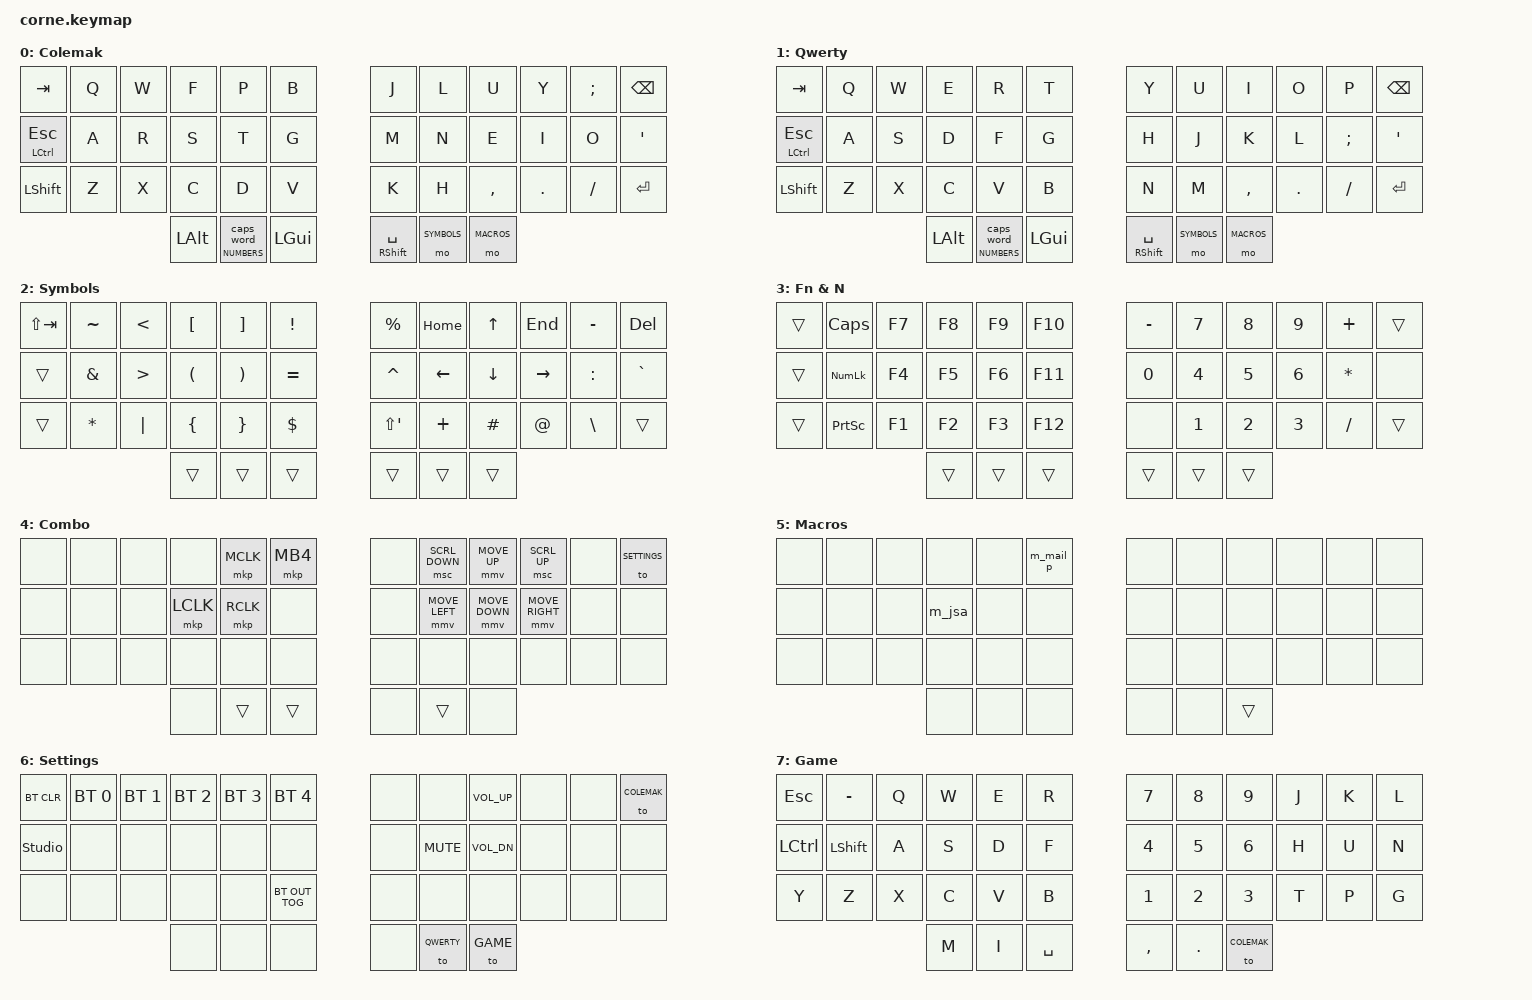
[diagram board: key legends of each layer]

// MOUSE SETTINGS
//Pointer speed
#define ZMK_POINTING_DEFAULT_MOVE_VAL 900
// Scroll speed
#define ZMK_POINTING_DEFAULT_SCRL_VAL 10

// DEPENDENCIES
#include <behaviors.dtsi>
#include <dt-bindings/zmk/keys.h>
#include <dt-bindings/zmk/bt.h>
#include <dt-bindings/zmk/outputs.h>
#include <dt-bindings/zmk/pointing.h>

// LAYERS
#define COLEMAK		0
#define QWERTY		1
#define SYMBOLS		2
#define NUMBERS		3
#define COMBO		4
#define MACROS		5
#define SETTINGS	6
#define GAME		7

// DEVICETREE ROOT
/ {
	conditional_layers {
		compatible = "zmk,conditional-layers";

		combo_layer {
			if-layers = <NUMBERS SYMBOLS>;
			then-layer = <COMBO>;
		};
	};

	behaviors {
		mo_layer_cw: mo_layer_cw {
			compatible = "zmk,behavior-hold-tap";
			label = "LAYER_CAPS_WORD";
			#binding-cells = <2>;
			flavor = "hold-preferred";
			tapping-term-ms = <200>;
			quick-tap-ms = <125>;
			bindings = <&mo>, <&caps_word>;
		};

		c_htl: custom_hold_tap_long_quick_tap {
			compatible = "zmk,behavior-hold-tap";
			label = "CUSTOM_HOLD_TAP";
			#binding-cells = <2>;
			flavor = "balanced";
			tapping-term-ms = <200>;
			quick-tap-ms = <300>;
			bindings = <&kp>, <&kp>;
		};
	};

	macros {
		// @gravestam.site
		m_mail_p: m_mail_personal {
			compatible = "zmk,behavior-macro";
			#binding-cells = <0>;
			bindings = <
				&kp AT
				&kp G &kp R &kp A &kp V &kp E &kp S &kp T &kp A &kp M
				&kp DOT
				&kp S &kp I &kp T &kp E
			>;
		};

		// () => {};
		m_jsa: m_js_arrow_function {
			compatible = "zmk,behavior-macro";
			#binding-cells = <0>;
			bindings = <
				&kp LPAR &kp RPAR
				&kp SPACE &kp EQUAL &kp GT
				&kp SPACE &kp LBRC &kp RBRC &kp SEMI 
				&kp LEFT &kp LEFT &kp LEFT &kp LEFT &kp LEFT &kp LEFT &kp LEFT &kp LEFT
			>;
		};
	};

	keymap {
		compatible = "zmk,keymap";

		COLEMAK {
			display-name = "Colemak";
			bindings = <
				// 1			// 2		// 3		// 4		// 5		// 6		// 1		// 2		// 3		// 4		// 5		// 6
				&kp TAB			&kp Q		&kp W		&kp F		&kp P		&kp B		&kp J		&kp L		&kp U		&kp Y		&kp SEMI	&kp BSPC
				&mt LCTRL ESC	&kp A		&kp R		&kp S		&kp T		&kp G		&kp M		&kp N		&kp E		&kp I		&kp O		&kp SQT
				&kp LSHIFT		&kp Z		&kp X		&kp C		&kp D		&kp V		&kp K		&kp H		&kp COMMA	&kp DOT		&kp FSLH	&kp RET
				// 1			// 2					// 3		// 1				// 2			// 3
				&kp LALT		&mo_layer_cw NUMBERS 0	&kp LGUI	&mt RSHIFT SPACE	&mo SYMBOLS		&mo MACROS
			>;
		};

		QWERTY {
			display-name = "Qwerty";
			bindings = <
				// 1			// 2		// 3		// 4		// 5		// 6		// 1		// 2		// 3		// 4		// 5		// 6
				&kp TAB			&kp Q		&kp W		&kp E		&kp R		&kp T		&kp Y		&kp U		&kp I		&kp O		&kp P		&kp BSPC
				&mt LCTRL ESC	&kp A		&kp S		&kp D		&kp F		&kp G		&kp H		&kp J		&kp K		&kp L		&kp SEMI	&kp SQT
				&kp LSHIFT		&kp Z		&kp X		&kp C		&kp V		&kp B		&kp N		&kp M		&kp COMMA	&kp DOT		&kp FSLH	&kp RET
				// 1			// 2					// 3		// 1				// 2			// 3
				&kp LALT		&mo_layer_cw NUMBERS 0	&kp LGUI	&mt RSHIFT SPACE	&mo SYMBOLS		&mo MACROS
			>;
		};

		SYMBOLS {
			display-name = "Symbols";
			bindings = <
				// 1			// 2		// 3		// 4		// 5		// 6		// 1		// 2		// 3		// 4		// 5		// 6
				&kp LS(TAB)		&kp TILDE	&kp LT		&kp LBKT	&kp RBKT	&kp EXCL	&kp PRCNT	&kp HOME	&kp UP		&kp END		&kp MINUS	&kp DEL
				&trans			&kp AMPS	&kp GT		&kp LPAR	&kp RPAR	&kp EQUAL	&kp CARET	&kp LEFT	&kp DOWN	&kp RIGHT	&kp COLON	&kp GRAVE
				&trans			&kp ASTRK	&kp PIPE	&kp LBRC	&kp RBRC	&kp DLLR	&kp LS(SQT)	&kp PLUS	&kp HASH	&kp AT		&kp BSLH	&trans
				// 1			// 2		// 3		// 1		// 2		// 3
				&trans			&trans		&trans		&trans		&trans		&trans
			>;
		};

		NUMBERS {
			display-name = "Fn & N";
			bindings = <
				// 1		// 2		// 3		// 4		// 5		// 6		// 1		// 2		// 3		// 4		// 5		// 6
				&trans		&kp CAPS	&kp F7		&kp F8		&kp F9		&kp F10		&kp MINUS	&kp N7		&kp N8		&kp N9		&kp PLUS	&trans
				&trans		&kp KP_NUM	&kp F4		&kp F5		&kp F6		&kp F11		&kp N0		&kp N4		&kp N5		&kp N6		&kp ASTRK	&none
				&trans		&kp PSCRN	&kp F1		&kp F2		&kp F3		&kp F12		&none		&kp N1		&kp N2		&kp N3		&kp FSLH	&trans
				// 1		// 2		// 3		// 1		// 2		// 3
				&trans		&trans		&trans		&trans		&trans		&trans
			>;
		};

		COMBO {
			display-name = "Combo";
			bindings = <
				// 1	// 2	// 3	// 4		// 5		// 6		// 1	// 2			// 3			// 4				// 5	// 6
				&none	&none	&none	&none		&mkp MCLK	&mkp MB4	&none	&msc SCRL_DOWN	&mmv MOVE_UP	&msc SCRL_UP		&none	&to SETTINGS
				&none	&none	&none	&mkp LCLK	&mkp RCLK	&none		&none	&mmv MOVE_LEFT	&mmv MOVE_DOWN	&mmv MOVE_RIGHT		&none	&none
				&none	&none	&none	&none		&none		&none		&none	&none			&none			&none				&none	&none
				// 1	// 2	// 3	// 1		// 2		// 3
				&none	&trans	&trans	&none		&trans		&none
			>;
		};

		MACROS {
			display-name = "Macros";
			bindings = <
				// 1		// 2		// 3		// 4		// 5		// 6		// 1		// 2		// 3		// 4		// 5		// 6
				&none		&none		&none		&none		&none		&m_mail_p	&none		&none		&none		&none		&none		&none
				&none		&none		&none		&m_jsa		&none		&none		&none		&none		&none		&none		&none		&none
				&none		&none		&none		&none		&none		&none		&none		&none		&none		&none		&none		&none
				// 1		// 2		// 3		// 1		// 2		// 3
				&none		&none		&none		&none		&none		&trans
			>;
		};

		SETTINGS {
			display-name = "Settings";
			bindings = <
				// 1			// 2			// 3			// 4			// 5			// 6			// 1	// 2		// 3			// 4	// 5	// 6
				&bt BT_CLR		&bt BT_SEL 0	&bt BT_SEL 1	&bt BT_SEL 2	&bt BT_SEL 3	&bt BT_SEL 4	&none	&none		&kp C_VOL_UP	&none	&none	&to COLEMAK
				&studio_unlock	&none			&none			&none			&none			&none			&none	&kp C_MUTE	&kp C_VOL_DN	&none	&none	&none
				&none			&none			&none			&none			&none			&bt OUT_TOG		&none	&none		&none			&none	&none	&none
				// 1			// 2			// 3			// 1			// 2			// 3
				&none			&none			&none			&none			&to QWERTY		&to GAME
			>;
		};

		GAME {
			display-name = "Game";
			bindings = <
				// 1		// 2		// 3		// 4		// 5		// 6		// 1		// 2		// 3		// 4		// 5		// 6
				&kp ESC		&kp MINUS	&kp Q		&kp W		&kp E		&kp R		&kp	N7		&kp N8		&kp N9		&kp J		&kp K		&kp L
				&kp LCTRL	&kp LSHIFT	&kp A		&kp S		&kp D		&kp F		&kp	N4		&kp N5		&kp N6		&kp H		&kp U		&kp N
				&kp Y		&kp Z		&kp X		&kp C		&kp V		&kp B		&kp	N1		&kp N2		&kp N3		&kp T		&kp P		&kp G
				// 1		// 2		// 3		// 1		// 2		// 3
				&kp M		&kp I		&kp SPACE	&kp COMMA 	&kp DOT		&to COLEMAK
			>;
		};

	};
};
